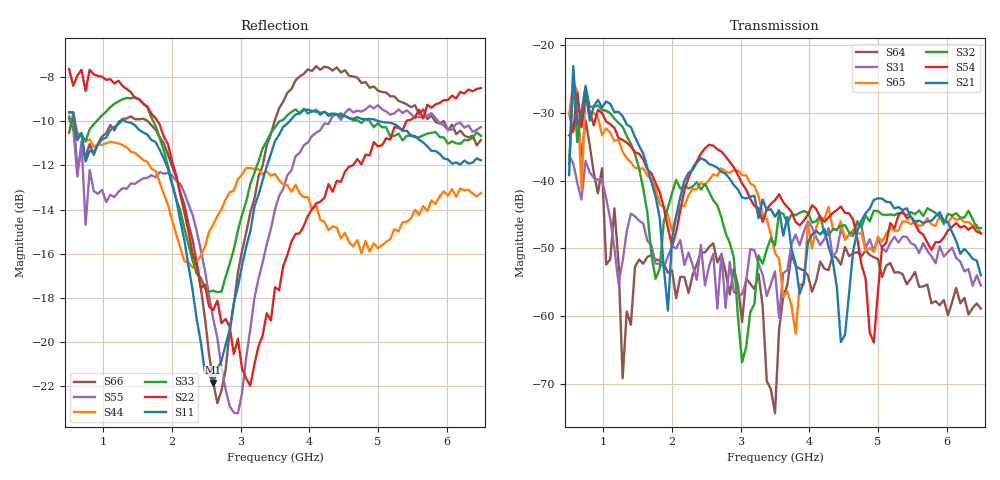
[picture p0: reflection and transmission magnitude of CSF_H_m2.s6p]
!Keysight Technologies,M9804A,MY58100912,A.14.10.03
!Date: Thursday, April 27, 2023 10:28:33
!Correction: S11(C  6-Port  )
!S12(C  6-Port  )
!S13(C  6-Port  )
!S14(C  6-Port  )
!S15(C  6-Port  )
!S16(C  6-Port  )
!S21(C  6-Port  )
!S22(C  6-Port  )
!S23(C  6-Port  )
!S24(C  6-Port  )
!S25(C  6-Port  )
!S26(C  6-Port  )
!S31(C  6-Port  )
!S32(C  6-Port  )
!S33(C  6-Port  )
!S34(C  6-Port  )
!S35(C  6-Port  )
!S36(C  6-Port  )
!S41(C  6-Port  )
!S42(C  6-Port  )
!S43(C  6-Port  )
!S44(C  6-Port  )
!S45(C  6-Port  )
!S46(C  6-Port  )
!S51(C  6-Port  )
!S52(C  6-Port  )
!S53(C  6-Port  )
!S54(C  6-Port  )
!S55(C  6-Port  )
!S56(C  6-Port  )
!S61(C  6-Port  )
!S62(C  6-Port  )
!S63(C  6-Port  )
!S64(C  6-Port  )
!S65(C  6-Port  )
!S66(C  6-Port  )
!S6P File: Measurement: :
# Hz S  RI  R 50
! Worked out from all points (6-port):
!   101 points, 500 MHz to 6.5 GHz, reference 50 ohm
!   strongest paths, dB at 500 MHz, 2 GHz, 3.5 GHz, 5 GHz, 6.5 GHz:
!     S21: -39.2, -48.5, -45.3, -42.6, -53.9
!     S54: -33.4, -49.7, -42.9, -56.4, -47.7
!     S32: -37.6, -41.9, -49.5, -44.5, -47.0
!     S65: -30.3, -47.4, -50.7, -48.3, -47.8
!     S31: -36.3, -49.7, -53.4, -48.6, -55.5
!     S64: -30.1, -53.2, -74.3, -51.5, -58.9
!   lowest |S11| = -21.8 dB at 2.6 GHz (marker M1), VSWR 1.18, Z = 42.8 + j1.98 ohm
!   |S11| at or under -10 dB: 579.2 MHz to 1.261 GHz (681.7 MHz wide, 74.1 % of centre); 1.316 GHz to 3.712 GHz (2.395 GHz wide, 95.3 % of centre); 5.011 GHz to end of sweep
